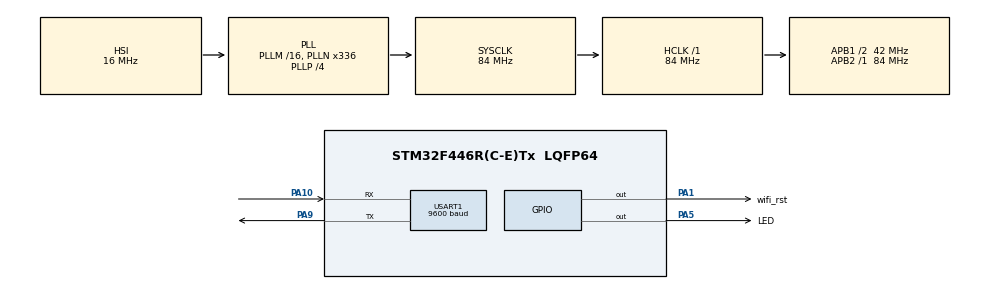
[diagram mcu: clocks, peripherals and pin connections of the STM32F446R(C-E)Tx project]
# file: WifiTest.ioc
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Dma.Request0=USART1_RX
Dma.Request1=USART1_TX
Dma.USART1_RX.0.Direction=DMA_PERIPH_TO_MEMORY
Dma.USART1_RX.0.FIFOMode=DMA_FIFOMODE_DISABLE
Dma.USART1_RX.0.Instance=DMA2_Stream2
Dma.USART1_RX.0.MemDataAlignment=DMA_MDATAALIGN_BYTE
Dma.USART1_RX.0.MemInc=DMA_MINC_ENABLE
Dma.USART1_RX.0.Mode=DMA_CIRCULAR
Dma.USART1_RX.0.PeriphDataAlignment=DMA_PDATAALIGN_BYTE
Dma.USART1_RX.0.PeriphInc=DMA_PINC_DISABLE
Dma.USART1_RX.0.Priority=DMA_PRIORITY_LOW
Dma.USART1_TX.1.Direction=DMA_MEMORY_TO_PERIPH
Dma.USART1_TX.1.FIFOMode=DMA_FIFOMODE_DISABLE
Dma.USART1_TX.1.Instance=DMA2_Stream7
Dma.USART1_TX.1.MemDataAlignment=DMA_MDATAALIGN_BYTE
Dma.USART1_TX.1.MemInc=DMA_MINC_ENABLE
Dma.USART1_TX.1.Mode=DMA_NORMAL
Dma.USART1_TX.1.PeriphDataAlignment=DMA_PDATAALIGN_BYTE
Dma.USART1_TX.1.PeriphInc=DMA_PINC_DISABLE
Dma.USART1_TX.1.Priority=DMA_PRIORITY_LOW
Mcu.Family=STM32F4
Mcu.Name=STM32F446R(C-E)Tx
Mcu.Package=LQFP64
NVIC.DMA2_Stream2_IRQn=true\:0\:0\:false\:false\:true\:false\:true\:true
NVIC.DMA2_Stream7_IRQn=true\:0\:0\:false\:false\:true\:false\:true\:true
NVIC.PriorityGroup=NVIC_PRIORITYGROUP_0
NVIC.USART1_IRQn=true\:0\:0\:false\:false\:true\:true\:true\:true
PA1.GPIO_Label=wifi_rst
PA1.Signal=GPIO_Output
PA10.Mode=Asynchronous
PA10.Signal=USART1_RX
PA5.GPIO_Label=LED
PA5.Signal=GPIO_Output
PA9.Mode=Asynchronous
PA9.Signal=USART1_TX
ProjectManager.HeapSize=0x200
ProjectManager.StackSize=0x400
ProjectManager.TargetToolchain=STM32CubeIDE
RCC.48MHZClocksFreq_Value=84000000
RCC.AHBFreq_Value=84000000
RCC.APB1CLKDivider=RCC_HCLK_DIV2
RCC.APB1Freq_Value=42000000
RCC.APB1TimFreq_Value=84000000
RCC.APB2Freq_Value=84000000
RCC.APB2TimFreq_Value=84000000
RCC.CortexFreq_Value=84000000
RCC.FLatency-AdvancedSettings=FLASH_LATENCY_2
RCC.HCLKFreq_Value=84000000
RCC.HSE_VALUE=8000000
RCC.HSI_VALUE=16000000
RCC.PLLN=336
RCC.PLLP=RCC_PLLP_DIV4
RCC.SYSCLKFreq_VALUE=84000000
RCC.SYSCLKSource=RCC_SYSCLKSOURCE_PLLCLK
RCC.USBFreq_Value=168000000
RCC.VCOOutputFreq_Value=336000000
USART1.BaudRate=9600
USART1.VirtualMode=VM_ASYNC
board=NUCLEO-F446RE

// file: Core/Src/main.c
/* USER CODE BEGIN Header */
/**
  ******************************************************************************
  * @file           : main.c
  * @brief          : Main program body
  ******************************************************************************
  * @attention
  *
  * Copyright (c) 2025 STMicroelectronics.
  * All rights reserved.
  *
  * This software is licensed under terms that can be found in the LICENSE file
  * in the root directory of this software component.
  * If no LICENSE file comes with this software, it is provided AS-IS.
  *
  ******************************************************************************
  */
/* USER CODE END Header */
#include "main.h"

/* USER CODE BEGIN Includes */

#define PORT 80
#define MAX_BUFFER_SIZE 500

#define SSID "HOME"
#define PASSWORD "gemeos123"

/* USER CODE END Includes */

UART_HandleTypeDef huart1;
DMA_HandleTypeDef hdma_usart1_rx;
DMA_HandleTypeDef hdma_usart1_tx;

/* USER CODE BEGIN PV */

char r_data[MAX_BUFFER_SIZE];
char t_data[MAX_BUFFER_SIZE];
uint8_t n = 0;

int buffer_start = 0;
int status = 0;

#define RESPONSE "HTTP/1.1 200 OK\nContent-Type: application/json\nContent-Length: 14\n\n{status: \"OK\"}"
/* USER CODE END PV */

void SystemClock_Config(void);
static void MX_GPIO_Init(void);
static void MX_DMA_Init(void);
static void MX_USART1_UART_Init(void);

/* USER CODE BEGIN 0 */

int find_string(char* a, char* b, int start) {
	int i = start % MAX_BUFFER_SIZE, j;
	int end = (start + MAX_BUFFER_SIZE - 1) % MAX_BUFFER_SIZE;
	while (a[i] != '\0' && i != end) {
		j = 0;
		while (1) {
			if (b[j] == '\0') return i;
			if (a[i + j] != b[j]) break;

			j++;
		}

		i++;
		if (i == MAX_BUFFER_SIZE) i = 0;
	}

	return -1;
}

int wait_ok() {
	int found = -1;
	while(found == -1) {
		found = find_string(r_data, "\r\nOK\r\n", buffer_start);
		if (found > 0) return found + 6;

		found = find_string(r_data, "\r\nno change\r\n", buffer_start);
		if (found > 0) return found + 13;
	}

	return -1;
}

int wait(char* str) {
	int found = -1;

	while (found == -1) {
		found = find_string(r_data, str, buffer_start);
		if (found > 0) return found;
	}

	return -1;
}

void wifi_init(void) {
	HAL_GPIO_WritePin(wifi_rst_GPIO_Port, wifi_rst_Pin, 1);
	HAL_Delay(2000);

	HAL_UART_Receive_DMA(&huart1, (uint8_t*)r_data, MAX_BUFFER_SIZE);

	n = sprintf(t_data, "AT\r\n");
	HAL_UART_Transmit(&huart1, (uint8_t*)t_data, n, 100);

	buffer_start = wait_ok();

	status = 1;

	n = sprintf(t_data, "AT+CWMODE=3\r\n");
	HAL_UART_Transmit(&huart1, (uint8_t*)t_data, n, 100);

	buffer_start = wait_ok();

	status = 2;

	n = sprintf(t_data, "AT+CWJAP=\"%s\",\"%s\"\r\n", SSID, PASSWORD);
	HAL_UART_Transmit(&huart1, (uint8_t*)t_data, n, 100);

	buffer_start = wait_ok();

	status = 3;

	n = sprintf(t_data, "AT+CIPMUX=1\r\n");
	HAL_UART_Transmit(&huart1, (uint8_t*)t_data, n, 100);

	buffer_start = wait_ok();

	status = 4;

	n = sprintf(t_data, "AT+CIPSERVER=1,%d\r\n", PORT);
	HAL_UART_Transmit(&huart1, (uint8_t*)t_data, n, 100);

	buffer_start = wait_ok();

	status = 5;

	for (int i = 0; i < MAX_BUFFER_SIZE; i++) r_data[i] = '\0';
}

// Request -> Link\r\n\r\n+IPD,<channel>,<length>;<Request>\r\n<RequesterInfo>\r\n<Status>\r\n[...]
uint8_t handle_request(int* channel, int* length) {
	int found = find_string(r_data,"+IPD", buffer_start);
	if (found == -1) return 0;

	HAL_Delay(50);
	buffer_start = (found + 5) % MAX_BUFFER_SIZE;

	(*channel) = 0;
	while (r_data[buffer_start] != ',') {
		(*channel) = (*channel) * 10 + r_data[buffer_start++] - 48;
		buffer_start = buffer_start % MAX_BUFFER_SIZE;
	}
	buffer_start++; buffer_start = buffer_start % MAX_BUFFER_SIZE;

	(*length) = 0;
	while (r_data[buffer_start] != ':') {
		(*length) = (*length) * 10 + r_data[buffer_start++] - 48;
		buffer_start = buffer_start % MAX_BUFFER_SIZE;
	}
	buffer_start++; buffer_start = buffer_start % MAX_BUFFER_SIZE;

	return 1;
}

uint8_t handle_route(char* end_point, int n, int channel, char* response, int rn) {
	int found = -1;
	if ((found = find_string(r_data, end_point, buffer_start)) == -1) return 0;
	buffer_start = (found + n + 11) % MAX_BUFFER_SIZE;

	char data[32];
	int size = sprintf(data, "AT+CIPSEND=%d,%d\r\n", channel, rn);

	HAL_UART_Transmit(&huart1, data, size, 100);

	found = wait(">");
	buffer_start = (found + 2) % MAX_BUFFER_SIZE;

	HAL_UART_Transmit(&huart1, response, rn, 100);

	found = wait("\r\nSEND OK\r\n");

	buffer_start = (found + 11) % MAX_BUFFER_SIZE;

	for (int i = 0; i < MAX_BUFFER_SIZE; i++) r_data[i] = '\0';

	return 1;
}

void handle_command(char* command, int length, void* handler(void*), void* param) {
	for (int i = 0; i < length; i++) if (command[i] != r_data[buffer_start + i]) return;

	(handler)(param);
}

void* handle_led_on(void* param) {
	HAL_GPIO_WritePin(LED_GPIO_Port, LED_Pin, 1);

	return NULL;
}

void* handle_led_off(void* param) {
	HAL_GPIO_WritePin(LED_GPIO_Port, LED_Pin, 0);

	return NULL;
}

/* USER CODE END 0 */

int main(void)
{

  /* MCU Configuration--------------------------------------------------------*/

  /* Reset of all peripherals, Initializes the Flash interface and the Systick. */
  HAL_Init();

  /* Configure the system clock */
  SystemClock_Config();

  /* Initialize all configured peripherals */
  MX_GPIO_Init();
  MX_DMA_Init();
  MX_USART1_UART_Init();
  /* USER CODE BEGIN 2 */

	wifi_init();

	char data_response[256];
	int data_len;

//	data_len = sprintf(data_response, "AT+CIFSR\r\n");
//	HAL_UART_Transmit(&huart1, data_response, data_len, 100);

	data_len = sprintf(data_response, RESPONSE);
  /* USER CODE END 2 */

  /* Infinite loop */
  /* USER CODE BEGIN WHILE */

	int channel, length, found;
	while (1){
		found = -1;

//		if ((found = wait("GET /test")) > -1) {
//			HAL_Delay(100);
//			handle_request(&channel, &length);
//			handle_route("GET /test", 9, channel, data_response, data_len);
//		}

//		if ((found = wait("GET /test")) == -1) continue;
		if (handle_request(&channel, &length)) {
			handle_route("GET /test", 9, channel, data_response, data_len);
			handle_command("LED ON", 6, handle_led_on, NULL);
			handle_command("LED OFF", 7, handle_led_off, NULL);
		}

//		if ((found = wait("GET /test")) > -1) continue;
//		if (!handle_request(&channel, &length)) continue;
//		HAL_Delay(100);
//
//		handle_route("GET /test", 9, channel, data_response, data_len);

    /* USER CODE END WHILE */

	}
}

void SystemClock_Config(void)
{
  RCC_OscInitTypeDef RCC_OscInitStruct = {0};
  RCC_ClkInitTypeDef RCC_ClkInitStruct = {0};

  /** Configure the main internal regulator output voltage
  */
  __HAL_RCC_PWR_CLK_ENABLE();
  __HAL_PWR_VOLTAGESCALING_CONFIG(PWR_REGULATOR_VOLTAGE_SCALE3);

  /** Initializes the RCC Oscillators according to the specified parameters
  * in the RCC_OscInitTypeDef structure.
  */
  RCC_OscInitStruct.OscillatorType = RCC_OSCILLATORTYPE_HSI;
  RCC_OscInitStruct.HSIState = RCC_HSI_ON;
  RCC_OscInitStruct.HSICalibrationValue = RCC_HSICALIBRATION_DEFAULT;
  RCC_OscInitStruct.PLL.PLLState = RCC_PLL_ON;
  RCC_OscInitStruct.PLL.PLLSource = RCC_PLLSOURCE_HSI;
  RCC_OscInitStruct.PLL.PLLM = 16;
  RCC_OscInitStruct.PLL.PLLN = 336;
  RCC_OscInitStruct.PLL.PLLP = RCC_PLLP_DIV4;
  RCC_OscInitStruct.PLL.PLLQ = 2;
  RCC_OscInitStruct.PLL.PLLR = 2;
  if (HAL_RCC_OscConfig(&RCC_OscInitStruct) != HAL_OK)
  {
    Error_Handler();
  }

  /** Initializes the CPU, AHB and APB buses clocks
  */
  RCC_ClkInitStruct.ClockType = RCC_CLOCKTYPE_HCLK|RCC_CLOCKTYPE_SYSCLK
                              |RCC_CLOCKTYPE_PCLK1|RCC_CLOCKTYPE_PCLK2;
  RCC_ClkInitStruct.SYSCLKSource = RCC_SYSCLKSOURCE_PLLCLK;
  RCC_ClkInitStruct.AHBCLKDivider = RCC_SYSCLK_DIV1;
  RCC_ClkInitStruct.APB1CLKDivider = RCC_HCLK_DIV2;
  RCC_ClkInitStruct.APB2CLKDivider = RCC_HCLK_DIV1;

  if (HAL_RCC_ClockConfig(&RCC_ClkInitStruct, FLASH_LATENCY_2) != HAL_OK)
  {
    Error_Handler();
  }
}

static void MX_USART1_UART_Init(void)
{

  huart1.Instance = USART1;
  huart1.Init.BaudRate = 9600;
  huart1.Init.WordLength = UART_WORDLENGTH_8B;
  huart1.Init.StopBits = UART_STOPBITS_1;
  huart1.Init.Parity = UART_PARITY_NONE;
  huart1.Init.Mode = UART_MODE_TX_RX;
  huart1.Init.HwFlowCtl = UART_HWCONTROL_NONE;
  huart1.Init.OverSampling = UART_OVERSAMPLING_16;
  if (HAL_UART_Init(&huart1) != HAL_OK)
  {
    Error_Handler();
  }

}

static void MX_DMA_Init(void)
{

  /* DMA controller clock enable */
  __HAL_RCC_DMA2_CLK_ENABLE();

  /* DMA interrupt init */
  /* DMA2_Stream2_IRQn interrupt configuration */
  HAL_NVIC_SetPriority(DMA2_Stream2_IRQn, 0, 0);
  HAL_NVIC_EnableIRQ(DMA2_Stream2_IRQn);
  /* DMA2_Stream7_IRQn interrupt configuration */
  HAL_NVIC_SetPriority(DMA2_Stream7_IRQn, 0, 0);
  HAL_NVIC_EnableIRQ(DMA2_Stream7_IRQn);

}

static void MX_GPIO_Init(void)
{
  GPIO_InitTypeDef GPIO_InitStruct = {0};

  /* GPIO Ports Clock Enable */
  __HAL_RCC_GPIOA_CLK_ENABLE();

  /*Configure GPIO pin Output Level */
  HAL_GPIO_WritePin(GPIOA, wifi_rst_Pin|LED_Pin, GPIO_PIN_RESET);

  /*Configure GPIO pins : wifi_rst_Pin LED_Pin */
  GPIO_InitStruct.Pin = wifi_rst_Pin|LED_Pin;
  GPIO_InitStruct.Mode = GPIO_MODE_OUTPUT_PP;
  GPIO_InitStruct.Pull = GPIO_NOPULL;
  GPIO_InitStruct.Speed = GPIO_SPEED_FREQ_LOW;
  HAL_GPIO_Init(GPIOA, &GPIO_InitStruct);

}

void Error_Handler(void)
{
  __disable_irq();
  while (1)
  {
  }
}
